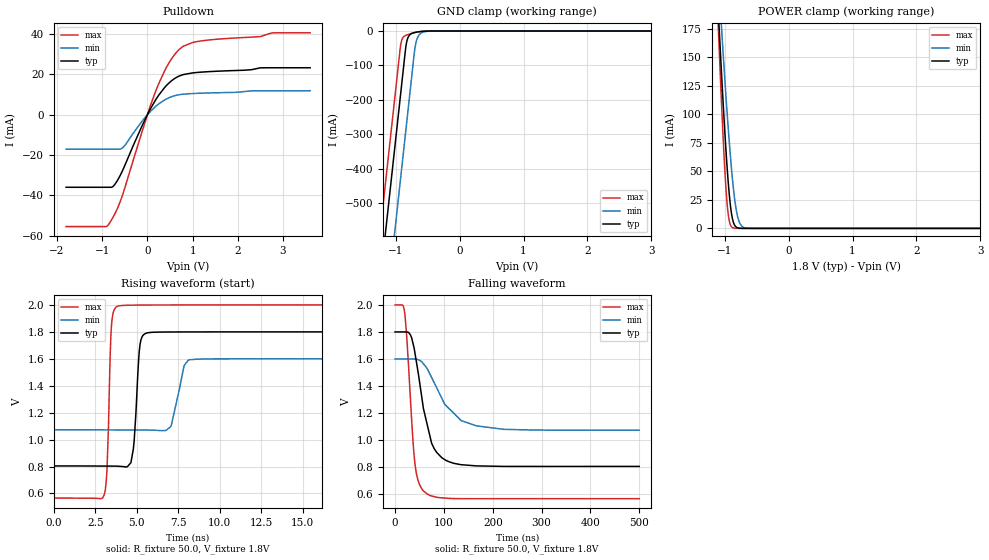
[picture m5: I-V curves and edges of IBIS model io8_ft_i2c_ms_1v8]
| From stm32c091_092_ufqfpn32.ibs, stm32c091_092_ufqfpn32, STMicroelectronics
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[Model]   io8_ft_i2c_ms_1v8
Model_type I/O_open_drain
Polarity   Non-Inverting
Enable   Active-Low
| CAP_THRESHOLD on pad IOFT is "UDTCAPC" :
| Rising=30.0% of vddiom   Falling=70.0% of vddiom
| C_comp min and max val. don't necessarily correlate with the min and max pvt
| but are the smallest and greatest pad capacitance found.
| var   typ   min   max
C_comp   2.19911pF  2.17856pF  2.24970pF
|C_comp_pulldown   2.19911pF  2.17856pF  2.24970pF
Vinl = 800.0mV
Vinh = 1.0V
Vmeas = 900.0mV   | Reference voltage for timing measurements
Cref  = 50.0pF   | Timing specification test load capacitance value
Rref  = 1.0MOhm   | Timing specification test load resistance value
Vref  = 990.0mV   | Timing specification test load voltage
[Model Spec]
| TIME_THRESHOLD on pin ZII2CV12 is "CMOS" :
| Rising=50.0% of vdd   Falling=50.0% of vdd
Vinl 728.70000mV 652.70000mV 817.70000mV
Vinh 1.06430V 953.30000mV 1.16330V
| variable   typ   min   max
[Temperature Range] 25.0 125.0 -40.0
| variable   typ   min   max
[Voltage Range] 1.8V 1.6V 2.0V
| variable   typ   min   max
[POWER Clamp Reference] 1.8V 1.6V 2.0V
| variable   typ   min   max
[GND Clamp Reference] 0V 0V 0V
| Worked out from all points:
|   slope of the pulldown table from 0 to 0.27 V, typ, clamps not added: 26.4 ohm
|   GND clamp passes 1 mA (typ) near -0.58 V on its own axis
|   POWER clamp passes 1 mA (typ) near -0.81 V on its own axis
|   rising waveform, R_fixture 50.0, V_fixture 1.8V: 20-80 % time 269ps typ, 551ps min, 197ps max; typ from 0.804 V to 1.8 V
|   falling waveform, R_fixture 50.0, V_fixture 1.8V: 20-80 % time 30.4ns typ, 55.3ns min, 15.1ns max; typ from 1.8 V to 0.804 V
[POWER Clamp]
-1.8V     1.053A     933.5mA    1.262A
-1.1V     191.1mA    222.7mA    177.1mA
-1.08V    169mA      204.2mA    149.9mA
-1.05V    136.9mA    176.9mA    110.9mA
-1.01V    96.55mA    141.6mA    64.02mA
-980mV    68.91mA    116.4mA    35.23mA
-940mV    37.57mA    84.83mA    10.65mA
-880mV    8.969mA    44.34mA    807.4uA
-830mV    1.697mA    20.19mA    75.79uA
-790mV    394.2uA    8.787mA    11.25uA
-670mV    4.467uA    374.2uA    36.56nA
3.6V      0A         0A         0A
[GND Clamp]
-1.8V     -1.676A    -1.92A     -1.532A
-1.24V    -723.6mA   -967.7mA   -579.5mA
-1.05V    -400.6mA   -644.7mA   -256.5mA
-920mV    -179.6mA   -423.7mA   -38.92mA
-890mV    -128.6mA   -372.7mA   -20.43mA
-850mV    -60.6mA    -304.7mA   -13.42mA
-830mV    -34.09mA   -270.7mA   -11.74mA
-800mV    -16.49mA   -219.7mA   -9.781mA
-690mV    -3.754mA   -41.06mA   -4.242mA
-640mV    -2.187mA   -13.34mA   -2.404mA
-570mV    -808.6uA   -3.187mA   -757.3uA
3.6V      509.6pA    49.06nA    363.2pA
| variable   typ   min   max
[Pullup Reference] 1.8V 1.6V 2.0V
| variable   typ   min   max
[Pulldown Reference] 0V 0V 0V
[Pulldown]
-1.8V     -35.95mA   -17.07mA   -55.42mA
-910mV    -35.95mA   -17.07mA   -55.42mA
-830mV    -35.95mA   -17.07mA   -53.42mA
-720mV    -34.49mA   -17.07mA   -49.08mA
-540mV    -27.18mA   -16.22mA   -39.07mA
-120mV    -5.598mA   -3.255mA   -8.496mA
240mV     9.353mA    5.171mA    14.85mA
490mV     15.96mA    8.523mA    26.14mA
750mV     19.54mA    10.04mA    33.17mA
1.37V     21.33mA    10.77mA    37.03mA
2.78V     23.24mA    11.8mA     40.53mA
3.6V      23.24mA    11.89mA    40.54mA
[Ramp]
dV/dt_r 597.4472mV/265.14699ps 316.64711mV/550.74871ps 860.77423mV/191.04675ps
dV/dt_f 597.45233mV/30.37943ns 316.62272mV/55.33113ns 860.7811mV/15.12051ns
R_load = 50.0
| Removed startup time: 0s 0s 0s  .
| Removed end time: 49.75ns.
[Rising Waveform]
R_fixture   = 50.0
V_fixture   = 1.8V
V_fixture_min = 1.6V
V_fixture_max = 2.0V
0s        804.2mV    1.072V     565.4mV
3.05ns    803.3mV    1.072V     595.8mV
3.2ns     803.3mV    1.072V     758.3mV
3.5ns     803.1mV    1.072V     1.88V
3.9ns     802.1mV    1.072V     1.992V
4.65ns    828.5mV    1.071V     1.998V
5.2ns     1.707V     1.071V     1.999V
5.7ns     1.794V     1.071V     1.999V
8.15ns    1.8V       1.593V     2V
49.75ns   1.8V       1.6V       2V
| Removed startup time: 0s 0s 0s  .
| Removed end time: 499.75ns.
[Falling Waveform]
R_fixture   = 50.0
V_fixture   = 1.8V
V_fixture_min = 1.6V
V_fixture_max = 2.0V
0s        1.8V       1.6V       2V
18.85ns   1.8V       1.6V       1.963V
23.6ns    1.8V       1.6V       1.782V
31.28ns   1.779V     1.6V       1.316V
41.3ns    1.631V     1.599V     807.8mV
50.45ns   1.422V     1.589V     666.5mV
65.97ns   1.112V     1.527V     599.3mV
95.73ns   868.6mV    1.309V     571.6mV
166.6ns   808.1mV    1.105V     565.2mV
499.8ns   804.2mV    1.072V     565.4mV
